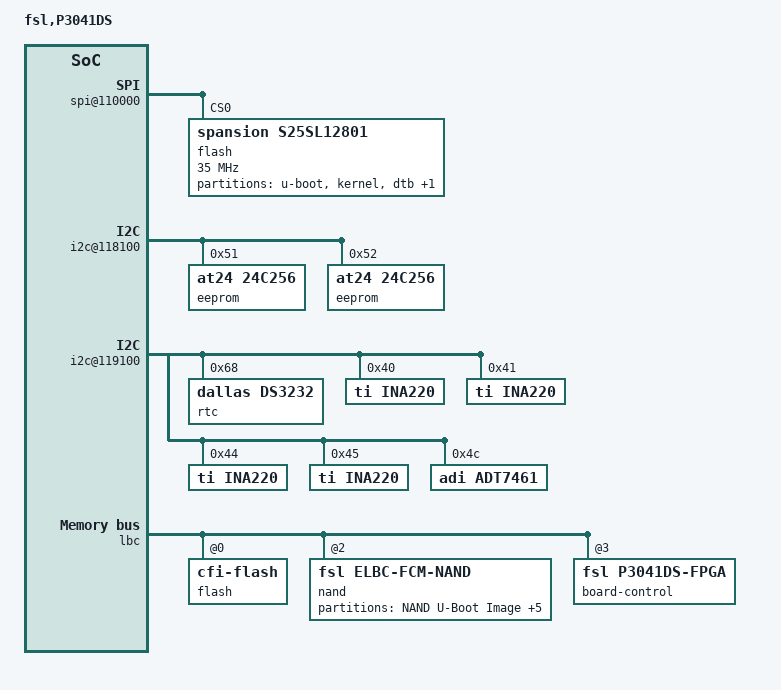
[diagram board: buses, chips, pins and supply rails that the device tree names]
/*
 * P3041DS Device Tree Source
 *
 * Copyright 2010-2011 Freescale Semiconductor Inc.
 *
 * Redistribution and use in source and binary forms, with or without
 * modification, are permitted provided that the following conditions are met:
 *     * Redistributions of source code must retain the above copyright
 *       notice, this list of conditions and the following disclaimer.
 *     * Redistributions in binary form must reproduce the above copyright
 *       notice, this list of conditions and the following disclaimer in the
 *       documentation and/or other materials provided with the distribution.
 *     * Neither the name of Freescale Semiconductor nor the
 *       names of its contributors may be used to endorse or promote products
 *       derived from this software without specific prior written permission.
 *
 *
 * ALTERNATIVELY, this software may be distributed under the terms of the
 * GNU General Public License ("GPL") as published by the Free Software
 * Foundation, either version 2 of that License or (at your option) any
 * later version.
 *
 * THIS SOFTWARE IS PROVIDED BY Freescale Semiconductor ``AS IS'' AND ANY
 * EXPRESS OR IMPLIED WARRANTIES, INCLUDING, BUT NOT LIMITED TO, THE IMPLIED
 * WARRANTIES OF MERCHANTABILITY AND FITNESS FOR A PARTICULAR PURPOSE ARE
 * DISCLAIMED. IN NO EVENT SHALL Freescale Semiconductor BE LIABLE FOR ANY
 * DIRECT, INDIRECT, INCIDENTAL, SPECIAL, EXEMPLARY, OR CONSEQUENTIAL DAMAGES
 * (INCLUDING, BUT NOT LIMITED TO, PROCUREMENT OF SUBSTITUTE GOODS OR SERVICES;
 * LOSS OF USE, DATA, OR PROFITS; OR BUSINESS INTERRUPTION) HOWEVER CAUSED AND
 * ON ANY THEORY OF LIABILITY, WHETHER IN CONTRACT, STRICT LIABILITY, OR TORT
 * (INCLUDING NEGLIGENCE OR OTHERWISE) ARISING IN ANY WAY OUT OF THE USE OF THIS
 * SOFTWARE, EVEN IF ADVISED OF THE POSSIBILITY OF SUCH DAMAGE.
 */

/include/ "fsl/p3041si-pre.dtsi"

/ {
	model = "fsl,P3041DS";
	compatible = "fsl,P3041DS";
	#address-cells = <2>;
	#size-cells = <2>;
	interrupt-parent = <&mpic>;

	memory {
		device_type = "memory";
	};

	dcsr: dcsr@f00000000 {
		ranges = <0x00000000 0xf 0x00000000 0x01008000>;
	};

	soc: soc@ffe000000 {
		ranges = <0x00000000 0xf 0xfe000000 0x1000000>;
		reg = <0xf 0xfe000000 0 0x00001000>;
		spi@110000 {
			flash@0 {
				#address-cells = <1>;
				#size-cells = <1>;
				compatible = "spansion,s25sl12801";
				reg = <0>;
				spi-max-frequency = <35000000>; /* input clock */
				partition@u-boot {
					label = "u-boot";
					reg = <0x00000000 0x00100000>;
					read-only;
				};
				partition@kernel {
					label = "kernel";
					reg = <0x00100000 0x00500000>;
					read-only;
				};
				partition@dtb {
					label = "dtb";
					reg = <0x00600000 0x00100000>;
					read-only;
				};
				partition@fs {
					label = "file system";
					reg = <0x00700000 0x00900000>;
				};
			};
		};

		i2c@118100 {
			eeprom@51 {
				compatible = "at24,24c256";
				reg = <0x51>;
			};
			eeprom@52 {
				compatible = "at24,24c256";
				reg = <0x52>;
			};
		};

		i2c@119100 {
			rtc@68 {
				compatible = "dallas,ds3232";
				reg = <0x68>;
				interrupts = <0x1 0x1 0 0>;
			};
			ina220@40 {
				compatible = "ti,ina220";
				reg = <0x40>;
				shunt-resistor = <1000>;
			};
			ina220@41 {
				compatible = "ti,ina220";
				reg = <0x41>;
				shunt-resistor = <1000>;
			};
			ina220@44 {
				compatible = "ti,ina220";
				reg = <0x44>;
				shunt-resistor = <1000>;
			};
			ina220@45 {
				compatible = "ti,ina220";
				reg = <0x45>;
				shunt-resistor = <1000>;
			};
			adt7461@4c {
				compatible = "adi,adt7461";
				reg = <0x4c>;
			};
		};
	};

	rio: rapidio@ffe0c0000 {
		reg = <0xf 0xfe0c0000 0 0x11000>;

		port1 {
			ranges = <0 0 0xc 0x20000000 0 0x10000000>;
		};
		port2 {
			ranges = <0 0 0xc 0x30000000 0 0x10000000>;
		};
	};

	lbc: localbus@ffe124000 {
		reg = <0xf 0xfe124000 0 0x1000>;
		ranges = <0 0 0xf 0xe8000000 0x08000000
			  2 0 0xf 0xffa00000 0x00040000
			  3 0 0xf 0xffdf0000 0x00008000>;

		flash@0,0 {
			compatible = "cfi-flash";
			reg = <0 0 0x08000000>;
			bank-width = <2>;
			device-width = <2>;
		};

		nand@2,0 {
			#address-cells = <1>;
			#size-cells = <1>;
			compatible = "fsl,elbc-fcm-nand";
			reg = <0x2 0x0 0x40000>;

			partition@0 {
				label = "NAND U-Boot Image";
				reg = <0x0 0x02000000>;
				read-only;
			};

			partition@2000000 {
				label = "NAND Root File System";
				reg = <0x02000000 0x10000000>;
			};

			partition@12000000 {
				label = "NAND Compressed RFS Image";
				reg = <0x12000000 0x08000000>;
			};

			partition@1a000000 {
				label = "NAND Linux Kernel Image";
				reg = <0x1a000000 0x04000000>;
			};

			partition@1e000000 {
				label = "NAND DTB Image";
				reg = <0x1e000000 0x01000000>;
			};

			partition@1f000000 {
				label = "NAND Writable User area";
				reg = <0x1f000000 0x21000000>;
			};
		};

		board-control@3,0 {
			compatible = "fsl,p3041ds-fpga", "fsl,fpga-ngpixis";
			reg = <3 0 0x30>;
		};
	};

	pci0: pcie@ffe200000 {
		reg = <0xf 0xfe200000 0 0x1000>;
		ranges = <0x02000000 0 0xe0000000 0xc 0x00000000 0x0 0x20000000
			  0x01000000 0 0x00000000 0xf 0xf8000000 0x0 0x00010000>;
		pcie@0 {
			ranges = <0x02000000 0 0xe0000000
				  0x02000000 0 0xe0000000
				  0 0x20000000

				  0x01000000 0 0x00000000
				  0x01000000 0 0x00000000
				  0 0x00010000>;
		};
	};

	pci1: pcie@ffe201000 {
		reg = <0xf 0xfe201000 0 0x1000>;
		ranges = <0x02000000 0x0 0xe0000000 0xc 0x20000000 0x0 0x20000000
			  0x01000000 0x0 0x00000000 0xf 0xf8010000 0x0 0x00010000>;
		pcie@0 {
			ranges = <0x02000000 0 0xe0000000
				  0x02000000 0 0xe0000000
				  0 0x20000000

				  0x01000000 0 0x00000000
				  0x01000000 0 0x00000000
				  0 0x00010000>;
		};
	};

	pci2: pcie@ffe202000 {
		reg = <0xf 0xfe202000 0 0x1000>;
		ranges = <0x02000000 0 0xe0000000 0xc 0x40000000 0 0x20000000
			  0x01000000 0 0x00000000 0xf 0xf8020000 0 0x00010000>;
		pcie@0 {
			ranges = <0x02000000 0 0xe0000000
				  0x02000000 0 0xe0000000
				  0 0x20000000

				  0x01000000 0 0x00000000
				  0x01000000 0 0x00000000
				  0 0x00010000>;
		};
	};

	pci3: pcie@ffe203000 {
		reg = <0xf 0xfe203000 0 0x1000>;
		ranges = <0x02000000 0 0xe0000000 0xc 0x60000000 0 0x20000000
			  0x01000000 0 0x00000000 0xf 0xf8030000 0 0x00010000>;
		pcie@0 {
			ranges = <0x02000000 0 0xe0000000
				  0x02000000 0 0xe0000000
				  0 0x20000000

				  0x01000000 0 0x00000000
				  0x01000000 0 0x00000000
				  0 0x00010000>;
		};
	};
};

/include/ "fsl/p3041si-post.dtsi"
